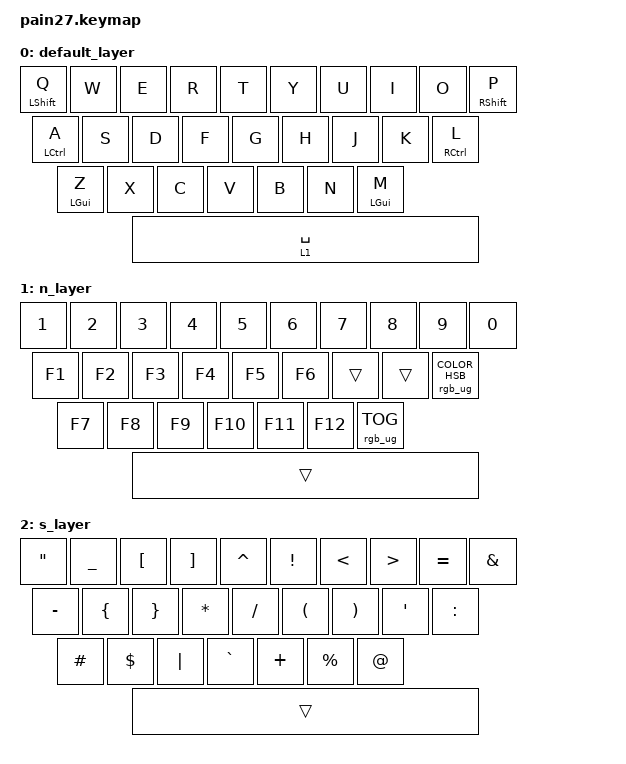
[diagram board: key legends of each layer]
#include <behaviors.dtsi>
#include <dt-bindings/zmk/keys.h>
#include <dt-bindings/zmk/outputs.h>
#include <dt-bindings/zmk/rgb.h>

/ {
	chosen {
		zmk,underglow = &led_strip;
	};
};

/ {
    hm: homerow_mods {
        compatible = "zmk,behavior-hold-tap";
        label = "HOMEROW_MODS";
        #binding-cells = <2>;
        tapping_term_ms = <300>;
        flavor = "tap-preferred";
        bindings = <&kp>, <&kp>;
    };
    
    combos {
    compatible = "zmk,combos";
        //      0       1       2       3       4       5       6       7       8       9          
        //  |    - ESC -    |   W   |   E   |       |       |       |       |    - BKSP -   |
        //  |       |       |   W   |   E   |       |       |       |    - DEL -    |       |
        //       10      11      12      13      14      15      16      17      18          
        //    |    - TAB -    |       |       |   - LEFT -    |     - UP -    |       |
        //    |       |       |   S   |       |       |    - DOWN -   |   - RIGHT -   |
        //             19     20      21      22      23      24      25     
        //        |    - LGUI-    |   X   |       |       |       |       |
        //        |       |       |   X   |       |       |    - RET -    |
        combo_del {
          timeout-ms = <30>;
          key-positions = <7 8>;
          bindings = <&kp DEL>;
          layers = <0 1 2>;
        };
        combo_bspc {
            timeout-ms = <30>;
            key-positions = <8 9>;
            bindings = <&kp BKSP>;
            layers = <0 1 2>;
        };
        combo_tab {
            timeout-ms = <30>;
            key-positions = <10 11>;
            bindings = <&kp TAB>;
            layers = <0 1 2>;
        };
        combo_esc {
            timeout-ms = <30>;
            key-positions = <0 1>;
            bindings = <&kp ESC>;
            layers = <0 1 2>;
        };
        combo_apos {
            //        |  L    |
            //  |   M   |
            timeout-ms = <30>;
            key-positions = <25 18>;
            bindings = <&kp APOS>;
            layers = <0>;
        };
        combo_left {
            timeout-ms = <30>;
            key-positions = <14 15>;
            bindings = <&kp LEFT>;
            layers = <0>;
        };        
        combo_down {
            timeout-ms = <30>;
            key-positions = <15 16>;
            bindings = <&kp DOWN>;
            layers = <0>;
        };
        combo_up {
            timeout-ms = <30>;
            key-positions = <16 17>;
            bindings = <&kp UP>;
            layers = <0>;
        };
        combo_right {
            timeout-ms = <30>;
            key-positions = <17 18>;
            bindings = <&kp RIGHT>;
            layers = <0>;
        };
        combo_lgui {
            timeout-ms = <30>;
            key-positions = <19 20>;
            bindings = <&kp LGUI>;
            layers = <0>;
        };
        combo_return {
            timeout-ms = <30>;
            key-positions = <24 25>;
            bindings = <&kp RET>;
            layers = <0 1 2>;
        };
        combo_two_a {
            //  |   Q   |-----------|   P   |
            timeout-ms = <30>;
            key-positions = <0 9>;
            bindings = <&mo 2>;
            layers = <0>;
        };
        combo_two_b {
            //  |   A   |-----------|   L   |
            timeout-ms = <30>;
            key-positions = <10 18>;
            bindings = <&mo 2>;
            layers = <0>;
        };
    };


    keymap {
        compatible = "zmk,keymap";
        default_layer {
            //  | Shift/Q   |   W   |   E   |   R   |   T   |   Y   |   U   |   I   |   O   | Shift/P |
            //  | Ctrl/ A   |   S   |   D   |   F   |   G   |   H   |   J   |   K   | Ctrl/L|
            //  | LGUI/ Z   |   X   |   C   |   V   |   B   |   N   | GUI/M |
            bindings = <
                &hm LSHFT Q &kp W   &kp E   &kp R   &kp T   &kp Y   &kp U   &kp I   &kp O   &hm RSHFT P
                &hm LCTRL A &kp S   &kp D   &kp F   &kp G   &kp H   &kp J   &kp K   &hm RCTRL L
                &hm LGUI Z  &kp X   &kp C   &kp V   &kp B   &kp N   &hm LGUI M
                                              &lt 1 SPACE
            >;
        };
        n_layer {
            // |    1   |   2   |   3   |   4   |   5   |   6   |   7   |   8   |   9   |   0   |
            // |   F1   |  F2   |  F3   |  F4   |  F5   |  F6   |       |       |RGB SET|
            // |   F7   |  F8   |  F9   |  F10  |  F11  |  F12  | RGB TG|
            bindings = <
                &kp N1  &kp N2  &kp N3  &kp N4  &kp N5  &kp N6  &kp N7 &kp N8 &kp N9 &kp N0
                &kp F1  &kp F2  &kp F3  &kp F4  &kp F5  &kp F6  &trans &trans &rgb_ug RGB_COLOR_HSB(128,100,100)
                &kp F7  &kp F8  &kp F9  &kp F10 &kp F11 &kp F12 &rgb_ug RGB_TOG
                                               &trans
            >;
        };
        s_layer {
            //  |    "    |    _     |   [    |   ]     |   ^     |   !     |   <    |   >    |   =    |   §   |
            //  |    -    |    {     |   }    |   *     |   /     |   (     |   )    |   '    |   :    |
            //  |    #    |    $     |   |    |   `     |   +     |   %     |   @    |
            bindings = <
                &kp DQT   &kp UNDER  &kp LBKT &kp RBKT  &kp CARET &kp EXCL  &kp LT   &kp GT   &kp EQUAL &kp AMPS
                &kp MINUS &kp LBRC   &kp RBRC &kp STAR  &kp FSLH  &kp LPAR  &kp RPAR &kp APOS &kp COLON
                &kp HASH  &kp DOLLAR &kp PIPE &kp GRAVE &kp PLUS  &kp PRCNT &kp AT
                                                        &trans
            >;
        };

    };
};
